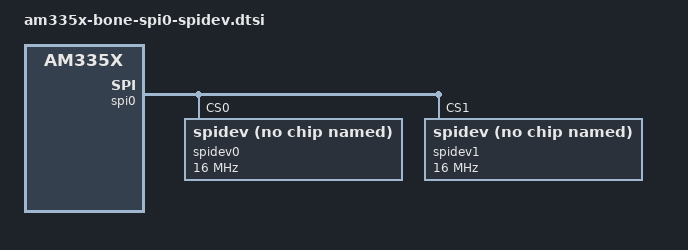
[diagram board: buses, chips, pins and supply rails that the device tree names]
/*
 * Copyright (C) 2012 Texas Instruments Incorporated - http://www.ti.com/
 *
 * This program is free software; you can redistribute it and/or modify
 * it under the terms of the GNU General Public License version 2 as
 * published by the Free Software Foundation.
 */

&ocp {
	P9_17_pinmux {
		status = "disabled";
	};
	P9_18_pinmux {
		status = "disabled";
	};
	P9_21_pinmux {
		status = "disabled";
	};
	P9_22_pinmux {
		status = "disabled";
	};
};

&spi0 {
	pinctrl-names = "default";
	pinctrl-0 = <&spi0_pins>;
	status = "okay";

	spidev0: spi@0 {
		compatible = "spidev";
		reg = <0>;
		spi-max-frequency = <16000000>;
		spi-cpha;
	};

	spidev1: spi@1 {
		compatible = "spidev";
		reg = <1>;
		spi-max-frequency = <16000000>;
	};
};
